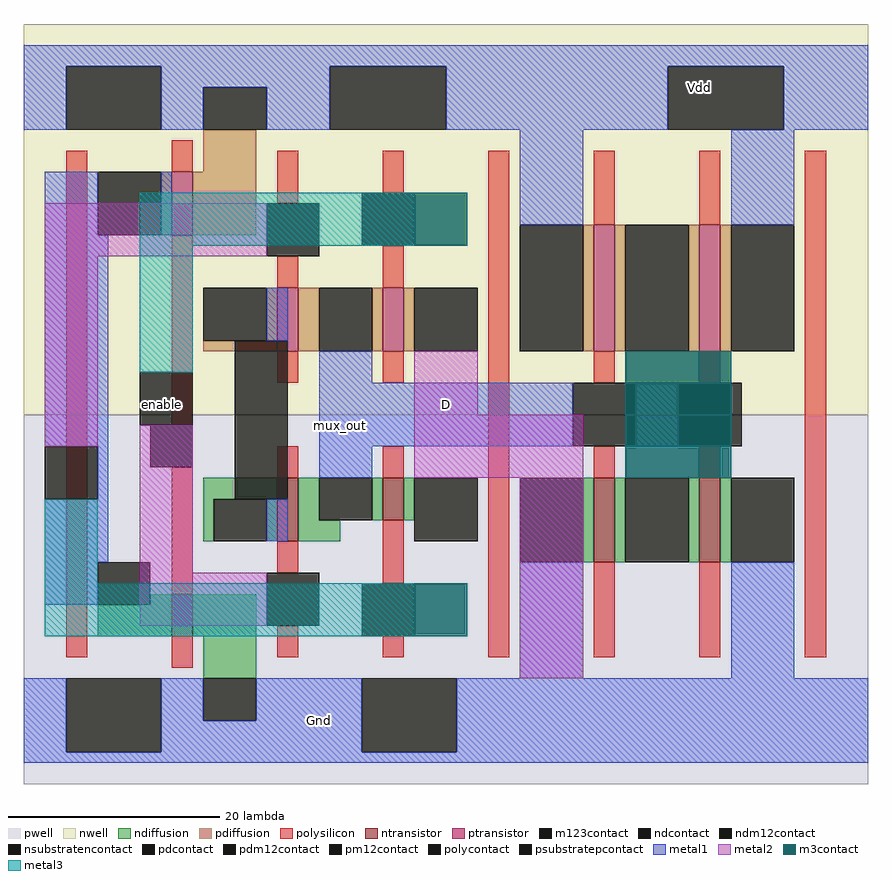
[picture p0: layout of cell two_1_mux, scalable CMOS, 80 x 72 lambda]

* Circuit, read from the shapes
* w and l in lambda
.subckt two_1_mux D Gnd Vdd enable mux_out
M1 Gnd enable n1 Gnd nfet w=4 l=2
M2 mux_out enable n2 Gnd nfet w=6 l=2
M3 D n1 mux_out Gnd nfet w=4 l=2
M4 n3 mux_out Gnd Gnd nfet w=8 l=2 m=2
M5 Vdd enable n1 Vdd pfet w=6 l=2
M6 mux_out n1 n2 Vdd pfet w=6 l=2
M7 D enable mux_out Vdd pfet w=6 l=2
M8 n3 mux_out Vdd Vdd pfet w=12 l=2 m=2
.ends

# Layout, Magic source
magic
tech scmos
<< nwell >>
rect 45 -26 125 11
<< pwell >>
rect 45 -61 125 -26
<< ntransistor >>
rect 69 -38 71 -32
rect 79 -36 81 -32
rect 59 -47 61 -43
rect 99 -40 101 -32
rect 109 -40 111 -32
<< ptransistor >>
rect 59 -9 61 -3
rect 69 -20 71 -14
rect 79 -20 81 -14
rect 99 -20 101 -8
rect 109 -20 111 -8
<< ndiffusion >>
rect 62 -34 69 -32
rect 62 -38 63 -34
rect 68 -38 69 -34
rect 71 -36 73 -32
rect 78 -36 79 -32
rect 81 -36 82 -32
rect 71 -38 75 -36
rect 57 -44 59 -43
rect 52 -47 59 -44
rect 61 -47 67 -43
rect 62 -51 67 -47
rect 98 -40 99 -32
rect 101 -40 102 -32
rect 108 -40 109 -32
rect 111 -40 112 -32
<< pdiffusion >>
rect 62 -3 67 1
rect 58 -9 59 -3
rect 61 -9 67 -3
rect 68 -19 69 -14
rect 62 -20 69 -19
rect 71 -20 73 -14
rect 78 -20 79 -14
rect 81 -20 82 -14
rect 98 -20 99 -8
rect 101 -20 102 -8
rect 108 -20 109 -8
rect 111 -20 112 -8
<< ndcontact >>
rect 52 -44 57 -40
rect 63 -38 68 -34
rect 73 -36 78 -32
rect 92 -40 98 -32
rect 112 -40 118 -32
rect 62 -55 67 -51
<< pdcontact >>
rect 62 1 68 5
rect 52 -9 58 -3
rect 62 -19 68 -14
rect 73 -20 78 -14
rect 92 -20 98 -8
rect 112 -20 118 -8
<< psubstratepcontact >>
rect 49 -58 58 -51
rect 77 -58 86 -51
<< nsubstratencontact >>
rect 49 1 58 7
rect 74 1 85 7
rect 106 1 117 7
<< polysilicon >>
rect 49 -49 51 -1
rect 59 -3 61 0
rect 69 -6 71 -1
rect 79 -5 81 -1
rect 59 -27 61 -9
rect 69 -14 71 -11
rect 79 -14 81 -10
rect 69 -23 71 -20
rect 79 -23 81 -20
rect 59 -43 61 -31
rect 69 -32 71 -29
rect 79 -32 81 -29
rect 69 -41 71 -38
rect 79 -42 81 -36
rect 59 -50 61 -47
rect 69 -49 71 -46
rect 79 -49 81 -47
rect 89 -49 91 -1
rect 99 -8 101 -1
rect 109 -8 111 -1
rect 99 -23 101 -20
rect 109 -23 111 -20
rect 99 -32 101 -29
rect 109 -32 111 -29
rect 99 -49 101 -40
rect 109 -49 111 -40
rect 119 -49 121 -1
<< polycontact >>
rect 57 -31 61 -27
rect 97 -29 103 -23
rect 107 -29 113 -23
<< metal1 >>
rect 45 7 125 9
rect 45 1 49 7
rect 58 5 74 7
rect 58 1 62 5
rect 68 1 74 5
rect 85 1 106 7
rect 117 1 125 7
rect 47 -9 52 -3
rect 58 -9 59 -3
rect 47 -29 53 -9
rect 92 -8 98 1
rect 112 -8 118 1
rect 68 -19 70 -14
rect 52 -34 53 -29
rect 47 -40 53 -34
rect 68 -38 70 -34
rect 73 -23 78 -20
rect 73 -29 97 -23
rect 103 -29 107 -23
rect 73 -32 78 -29
rect 47 -44 52 -40
rect 92 -51 98 -40
rect 112 -51 118 -40
rect 45 -58 49 -51
rect 58 -55 62 -51
rect 67 -55 77 -51
rect 58 -58 77 -55
rect 86 -58 125 -51
rect 45 -59 125 -58
<< pm12contact >>
rect 68 -11 73 -6
rect 77 -10 82 -5
rect 68 -46 73 -41
rect 77 -47 82 -42
<< pdm12contact >>
rect 82 -20 88 -14
rect 102 -20 108 -8
<< ndm12contact >>
rect 82 -38 88 -32
rect 102 -40 108 -32
<< metal2 >>
rect 47 -11 68 -6
rect 47 -29 52 -11
rect 56 -41 61 -27
rect 82 -26 88 -20
rect 82 -32 98 -26
rect 56 -46 68 -41
rect 92 -51 98 -32
<< m3contact >>
rect 82 -10 87 -5
rect 82 -47 87 -42
rect 102 -32 112 -20
<< m123contact >>
rect 47 -34 52 -29
rect 56 -27 61 -22
rect 65 -34 70 -19
<< metal3 >>
rect 56 -10 82 -5
rect 56 -22 61 -10
rect 47 -42 52 -34
rect 47 -47 82 -42
<< labels >>
rlabel nsubstratencontact 109 5 109 5 7 Vdd
rlabel m123contact 58 -25 58 -25 1 enable
rlabel metal2 85 -25 85 -25 1 D
rlabel metal1 75 -27 75 -27 1 mux_out
rlabel metal1 73 -55 73 -55 1 Gnd
<< end >>
